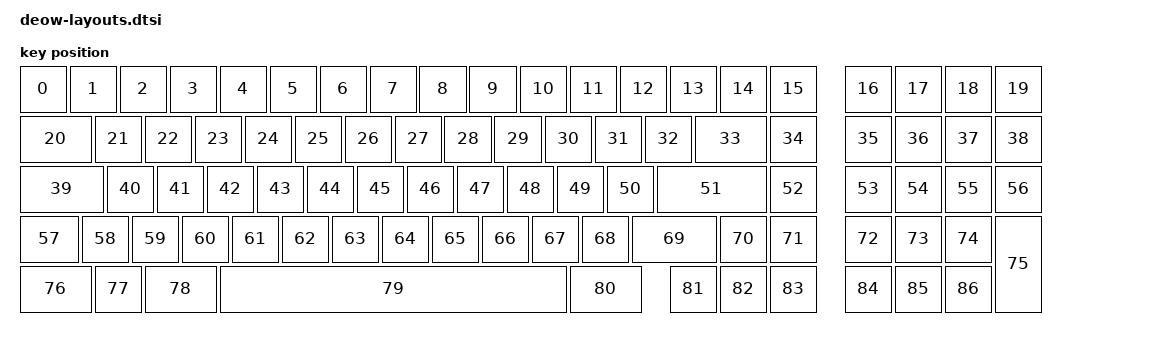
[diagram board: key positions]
#include <physical_layouts.dtsi>
/ {

    // All
    deow_all: deow_all {
        compatible = "zmk,physical-layout";
        display-name = "Deow All";
	transform = <&deow_all_transform>;
    keys  //                     w   h    x    y     rot    rx    ry
        = <&key_physical_attrs 100 100    0    0       0     0     0>
        , <&key_physical_attrs 100 100  100    0       0     0     0>
        , <&key_physical_attrs 100 100  200    0       0     0     0>
        , <&key_physical_attrs 100 100  300    0       0     0     0>
        , <&key_physical_attrs 100 100  400    0       0     0     0>
        , <&key_physical_attrs 100 100  500    0       0     0     0>
        , <&key_physical_attrs 100 100  600    0       0     0     0>
        , <&key_physical_attrs 100 100  700    0       0     0     0>
        , <&key_physical_attrs 100 100  800    0       0     0     0>
        , <&key_physical_attrs 100 100  900    0       0     0     0>
        , <&key_physical_attrs 100 100 1000    0       0     0     0>
        , <&key_physical_attrs 100 100 1100    0       0     0     0>
        , <&key_physical_attrs 100 100 1200    0       0     0     0>
        , <&key_physical_attrs 100 100 1300    0       0     0     0>
        , <&key_physical_attrs 100 100 1400    0       0     0     0>
        , <&key_physical_attrs 100 100 1500    0       0     0     0>
        , <&key_physical_attrs 100 100 1650    0       0     0     0>
        , <&key_physical_attrs 100 100 1750    0       0     0     0>
        , <&key_physical_attrs 100 100 1850    0       0     0     0>
        , <&key_physical_attrs 100 100 1950    0       0     0     0>
        , <&key_physical_attrs 150 100    0  100       0     0     0>
        , <&key_physical_attrs 100 100  150  100       0     0     0>
        , <&key_physical_attrs 100 100  250  100       0     0     0>
        , <&key_physical_attrs 100 100  350  100       0     0     0>
        , <&key_physical_attrs 100 100  450  100       0     0     0>
        , <&key_physical_attrs 100 100  550  100       0     0     0>
        , <&key_physical_attrs 100 100  650  100       0     0     0>
        , <&key_physical_attrs 100 100  750  100       0     0     0>
        , <&key_physical_attrs 100 100  850  100       0     0     0>
        , <&key_physical_attrs 100 100  950  100       0     0     0>
        , <&key_physical_attrs 100 100 1050  100       0     0     0>
        , <&key_physical_attrs 100 100 1150  100       0     0     0>
        , <&key_physical_attrs 100 100 1250  100       0     0     0>
        , <&key_physical_attrs 150 100 1350  100       0     0     0>
        , <&key_physical_attrs 100 100 1500  100       0     0     0>
        , <&key_physical_attrs 100 100 1650  100       0     0     0>
        , <&key_physical_attrs 100 100 1750  100       0     0     0>
        , <&key_physical_attrs 100 100 1850  100       0     0     0>
        , <&key_physical_attrs 100 100 1950  100       0     0     0>
        , <&key_physical_attrs 175 100    0  200       0     0     0>
        , <&key_physical_attrs 100 100  175  200       0     0     0>
        , <&key_physical_attrs 100 100  275  200       0     0     0>
        , <&key_physical_attrs 100 100  375  200       0     0     0>
        , <&key_physical_attrs 100 100  475  200       0     0     0>
        , <&key_physical_attrs 100 100  575  200       0     0     0>
        , <&key_physical_attrs 100 100  675  200       0     0     0>
        , <&key_physical_attrs 100 100  775  200       0     0     0>
        , <&key_physical_attrs 100 100  875  200       0     0     0>
        , <&key_physical_attrs 100 100  975  200       0     0     0>
        , <&key_physical_attrs 100 100 1075  200       0     0     0>
        , <&key_physical_attrs 100 100 1175  200       0     0     0>
        , <&key_physical_attrs 225 100 1275  200       0     0     0>
        , <&key_physical_attrs 100 100 1500  200       0     0     0>
        , <&key_physical_attrs 100 100 1650  200       0     0     0>
        , <&key_physical_attrs 100 100 1750  200       0     0     0>
        , <&key_physical_attrs 100 100 1850  200       0     0     0>
        , <&key_physical_attrs 100 100 1950  200       0     0     0>
        , <&key_physical_attrs 125 100    0  300       0     0     0>
        , <&key_physical_attrs 100 100  125  300       0     0     0>
        , <&key_physical_attrs 100 100  225  300       0     0     0>
        , <&key_physical_attrs 100 100  325  300       0     0     0>
        , <&key_physical_attrs 100 100  425  300       0     0     0>
        , <&key_physical_attrs 100 100  525  300       0     0     0>
        , <&key_physical_attrs 100 100  625  300       0     0     0>
        , <&key_physical_attrs 100 100  725  300       0     0     0>
        , <&key_physical_attrs 100 100  825  300       0     0     0>
        , <&key_physical_attrs 100 100  925  300       0     0     0>
        , <&key_physical_attrs 100 100 1025  300       0     0     0>
        , <&key_physical_attrs 100 100 1125  300       0     0     0>
        , <&key_physical_attrs 175 100 1225  300       0     0     0>
        , <&key_physical_attrs 100 100 1400  300       0     0     0>
        , <&key_physical_attrs 100 100 1500  300       0     0     0>
        , <&key_physical_attrs 100 100 1650  300       0     0     0>
        , <&key_physical_attrs 100 100 1750  300       0     0     0>
        , <&key_physical_attrs 100 100 1850  300       0     0     0>
        , <&key_physical_attrs 100 200 1950  300       0     0     0>
        , <&key_physical_attrs 150 100    0  400       0     0     0>
        , <&key_physical_attrs 100 100  150  400       0     0     0>
        , <&key_physical_attrs 150 100  250  400       0     0     0>
        , <&key_physical_attrs 700 100  400  400       0     0     0>
        , <&key_physical_attrs 150 100 1100  400       0     0     0>
        , <&key_physical_attrs 100 100 1300  400       0     0     0>
        , <&key_physical_attrs 100 100 1400  400       0     0     0>
        , <&key_physical_attrs 100 100 1500  400       0     0     0>
        , <&key_physical_attrs 100 100 1650  400       0     0     0>
        , <&key_physical_attrs 100 100 1750  400       0     0     0>
        , <&key_physical_attrs 100 100 1850  400       0     0     0>
        ;

    };

/*
    // ANSI
    deow_ansi: deow_ansi {
        compatible = "zmk,physical-layout";
        display-name = "Deow ANSI";
	transform = <&deow_ansi_transform>;
    

    };
    
    // Split BS
    deow_ansi_split_bs: deow_ansi_split_bs {
        compatible = "zmk,physical-layout";
        display-name = "ANSI Split Backspace";
	transform = <&deow_ansi_split_bs_transform>;

    };

    // ISO
    deow_iso: deow_iso {
        compatible = "zmk,physical-layout";
        display-name = "ISO";
	transform = <&deow_iso_transform>;

    };

    // Split Numpad Plus & 0
    deow_ansi_split_numpad: deow_ansi_split_numpad {
        compatible = "zmk,physical-layout";
        display-name = "Split Numpad Plus & 0";
	transform = <&deow_ansi_split_numpad_transform>;

    };
*/

    position_map {
        compatible = "zmk,physical-layout-position-map";

        complete;

        deow_all {
            physical-layout = <&deow_all>;
            positions = <>;
        };

    };
};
